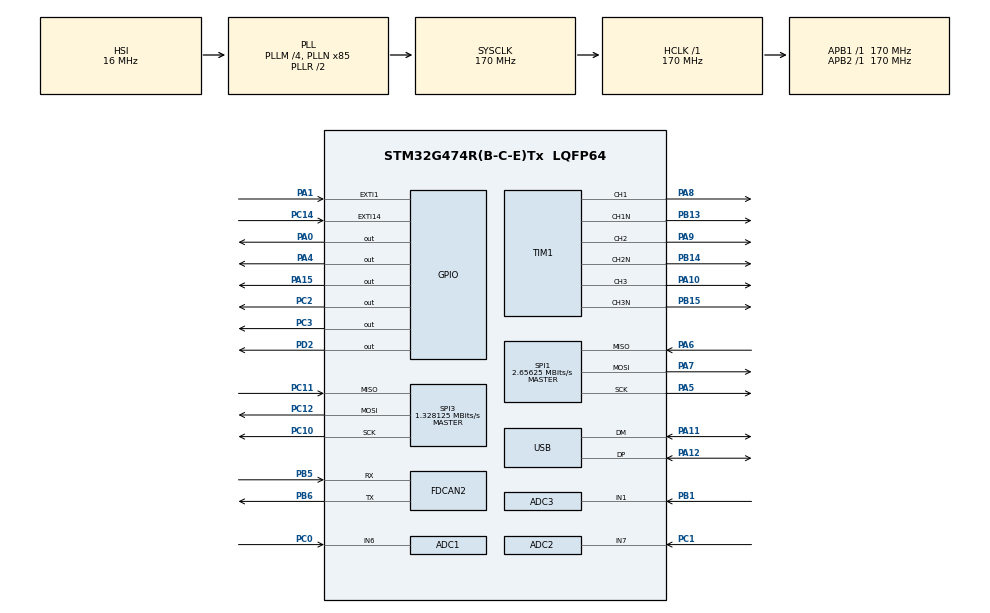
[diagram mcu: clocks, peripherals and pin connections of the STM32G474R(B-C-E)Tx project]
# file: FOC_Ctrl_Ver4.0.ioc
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ADC1.Channel-1\#ChannelRegularConversion=ADC_CHANNEL_6
ADC1.EnableInjectedConversion=ENABLE
ADC1.ExternalTrigInjecConv=ADC_EXTERNALTRIGINJEC_T1_CC4
ADC1.ExternalTrigInjecConvEdge=ADC_EXTERNALTRIGINJECCONV_EDGE_FALLING
ADC1.InjNumberOfConversion=1
ADC1.InjectedChannel-2\#ChannelInjectedConversion=ADC_CHANNEL_6
ADC1.InjectedOffsetNumber-2\#ChannelInjectedConversion=ADC_OFFSET_NONE
ADC1.InjectedRank-2\#ChannelInjectedConversion=1
ADC1.InjectedSamplingTime-2\#ChannelInjectedConversion=ADC_SAMPLETIME_6CYCLES_5
ADC1.Mode=ADC_DUALMODE_INJECSIMULT
ADC1.NbrOfConversionFlag=1
ADC1.OffsetNumber-1\#ChannelRegularConversion=ADC_OFFSET_NONE
ADC1.Rank-1\#ChannelRegularConversion=1
ADC1.Rank1_Channel=ADC_CHANNEL_6
ADC1.SamplingTime-1\#ChannelRegularConversion=ADC_SAMPLETIME_2CYCLES_5
ADC1.TwoSamplingDelay=ADC_TWOSAMPLINGDELAY_3CYCLES
ADC1.master=1
ADC2.Channel-0\#ChannelRegularConversion=ADC_CHANNEL_7
ADC2.EnableInjectedConversion=ENABLE
ADC2.InjNumberOfConversion=1
ADC2.InjectedChannel-1\#ChannelInjectedConversion=ADC_CHANNEL_7
ADC2.InjectedConvMode=AutoInjected
ADC2.InjectedOffsetNumber-1\#ChannelInjectedConversion=ADC_OFFSET_NONE
ADC2.InjectedRank-1\#ChannelInjectedConversion=1
ADC2.InjectedSamplingTime-1\#ChannelInjectedConversion=ADC_SAMPLETIME_6CYCLES_5
ADC2.Mode=ADC_DUALMODE_INJECSIMULT
ADC2.NbrOfConversionFlag=1
ADC2.OffsetNumber-0\#ChannelRegularConversion=ADC_OFFSET_NONE
ADC2.Rank-0\#ChannelRegularConversion=1
ADC2.Rank1_Channel=ADC_CHANNEL_7
ADC2.SamplingTime-0\#ChannelRegularConversion=ADC_SAMPLETIME_2CYCLES_5
ADC2.TwoSamplingDelay=ADC_TWOSAMPLINGDELAY_3CYCLES
ADC3.Channel-0\#ChannelRegularConversion=ADC_CHANNEL_1
ADC3.EnableInjectedConversion=ENABLE
ADC3.ExternalTrigInjecConv=ADC_EXTERNALTRIGINJEC_T4_CC3
ADC3.InjNumberOfConversion=1
ADC3.InjectedChannel-1\#ChannelInjectedConversion=ADC_CHANNEL_1
ADC3.InjectedOffsetNumber-1\#ChannelInjectedConversion=ADC_OFFSET_NONE
ADC3.InjectedRank-1\#ChannelInjectedConversion=1
ADC3.InjectedSamplingTime-1\#ChannelInjectedConversion=ADC_SAMPLETIME_6CYCLES_5
ADC3.NbrOfConversionFlag=1
ADC3.OffsetNumber-0\#ChannelRegularConversion=ADC_OFFSET_NONE
ADC3.Rank-0\#ChannelRegularConversion=1
ADC3.Rank1_Channel=ADC_CHANNEL_1
ADC3.Rank2_Channel=ADC_CHANNEL_1
ADC3.SamplingTime-0\#ChannelRegularConversion=ADC_SAMPLETIME_2CYCLES_5
ADC3.master=1
Dma.Request0=SPI1_RX
Dma.Request1=SPI1_TX
Dma.SPI1_RX.0.Direction=DMA_PERIPH_TO_MEMORY
Dma.SPI1_RX.0.EventEnable=DISABLE
Dma.SPI1_RX.0.Instance=DMA1_Channel1
Dma.SPI1_RX.0.MemDataAlignment=DMA_MDATAALIGN_BYTE
Dma.SPI1_RX.0.MemInc=DMA_MINC_ENABLE
Dma.SPI1_RX.0.Mode=DMA_NORMAL
Dma.SPI1_RX.0.PeriphDataAlignment=DMA_PDATAALIGN_BYTE
Dma.SPI1_RX.0.PeriphInc=DMA_PINC_DISABLE
Dma.SPI1_RX.0.Polarity=HAL_DMAMUX_REQ_GEN_RISING
Dma.SPI1_RX.0.Priority=DMA_PRIORITY_LOW
Dma.SPI1_RX.0.RequestNumber=1
Dma.SPI1_RX.0.SignalID=NONE
Dma.SPI1_RX.0.SyncEnable=DISABLE
Dma.SPI1_RX.0.SyncPolarity=HAL_DMAMUX_SYNC_NO_EVENT
Dma.SPI1_RX.0.SyncRequestNumber=1
Dma.SPI1_RX.0.SyncSignalID=NONE
Dma.SPI1_TX.1.Direction=DMA_MEMORY_TO_PERIPH
Dma.SPI1_TX.1.EventEnable=DISABLE
Dma.SPI1_TX.1.Instance=DMA1_Channel2
Dma.SPI1_TX.1.MemDataAlignment=DMA_MDATAALIGN_BYTE
Dma.SPI1_TX.1.MemInc=DMA_MINC_ENABLE
Dma.SPI1_TX.1.Mode=DMA_NORMAL
Dma.SPI1_TX.1.PeriphDataAlignment=DMA_PDATAALIGN_BYTE
Dma.SPI1_TX.1.PeriphInc=DMA_PINC_DISABLE
Dma.SPI1_TX.1.Polarity=HAL_DMAMUX_REQ_GEN_RISING
Dma.SPI1_TX.1.Priority=DMA_PRIORITY_LOW
Dma.SPI1_TX.1.RequestNumber=1
Dma.SPI1_TX.1.SignalID=NONE
Dma.SPI1_TX.1.SyncEnable=DISABLE
Dma.SPI1_TX.1.SyncPolarity=HAL_DMAMUX_SYNC_NO_EVENT
Dma.SPI1_TX.1.SyncRequestNumber=1
Dma.SPI1_TX.1.SyncSignalID=NONE
FDCAN2.CalculateBaudRateNominal=999999
FDCAN2.CalculateTimeBitNominal=1000
FDCAN2.CalculateTimeQuantumNominal=58.82352941176471
FDCAN2.NominalPrescaler=10
FDCAN2.NominalTimeSeg1=14
FDCAN2.NominalTimeSeg2=2
FDCAN2.StdFiltersNbr=11
Mcu.Family=STM32G4
Mcu.Name=STM32G474R(B-C-E)Tx
Mcu.Package=LQFP64
NVIC.ADC1_2_IRQn=true\:0\:0\:false\:false\:true\:true\:true\:true
NVIC.ADC3_IRQn=true\:0\:0\:false\:false\:true\:true\:true\:true
NVIC.DMA1_Channel1_IRQn=true\:0\:0\:false\:false\:true\:false\:true\:true
NVIC.DMA1_Channel2_IRQn=true\:0\:0\:false\:false\:true\:false\:true\:true
NVIC.EXTI15_10_IRQn=true\:0\:0\:false\:false\:true\:true\:true\:true
NVIC.EXTI1_IRQn=true\:0\:0\:false\:false\:true\:true\:true\:true
NVIC.FDCAN2_IT0_IRQn=true\:0\:0\:false\:false\:true\:true\:true\:true
NVIC.FDCAN2_IT1_IRQn=true\:0\:0\:false\:false\:true\:true\:true\:true
NVIC.PriorityGroup=NVIC_PRIORITYGROUP_4
NVIC.USB_LP_IRQn=true\:0\:0\:false\:false\:true\:false\:true\:true
PA0.Signal=GPIO_Output
PA1.Signal=GPXTI1
PA10.Signal=S_TIM1_CH3
PA11.Mode=Device
PA11.Signal=USB_DM
PA12.Mode=Device
PA12.Signal=USB_DP
PA13.Mode=Serial_Wire
PA13.Signal=SYS_JTMS-SWDIO
PA14.Mode=Serial_Wire
PA14.Signal=SYS_JTCK-SWCLK
PA15.Signal=GPIO_Output
PA2.Signal=USART2_TX
PA3.Signal=USART2_RX
PA4.Signal=GPIO_Output
PA5.Mode=Full_Duplex_Master
PA5.Signal=SPI1_SCK
PA6.Mode=Full_Duplex_Master
PA6.Signal=SPI1_MISO
PA7.Mode=Full_Duplex_Master
PA7.Signal=SPI1_MOSI
PA8.Signal=S_TIM1_CH1
PA9.Signal=S_TIM1_CH2
PB1.Mode=IN1-Single-Ended
PB1.Signal=ADC3_IN1
PB12.Signal=TIM1_BKIN
PB13.Mode=PWM Generation1 CH1 CH1N
PB13.Signal=TIM1_CH1N
PB14.Mode=PWM Generation2 CH2 CH2N
PB14.Signal=TIM1_CH2N
PB15.Mode=PWM Generation3 CH3 CH3N
PB15.Signal=TIM1_CH3N
PB5.Mode=FDCAN_Activate
PB5.Signal=FDCAN2_RX
PB6.Mode=FDCAN_Activate
PB6.Signal=FDCAN2_TX
PC0.Mode=IN6-Single-Ended
PC0.Signal=ADC1_IN6
PC1.Mode=IN7-Single-Ended
PC1.Signal=ADC2_IN7
PC10.Mode=Full_Duplex_Master
PC10.Signal=SPI3_SCK
PC11.Mode=Full_Duplex_Master
PC11.Signal=SPI3_MISO
PC12.Mode=Full_Duplex_Master
PC12.Signal=SPI3_MOSI
PC14-OSC32_IN.Signal=GPXTI14
PC2.Signal=GPIO_Output
PC3.Signal=GPIO_Output
PD2.Signal=GPIO_Output
PF0-OSC_IN.Mode=HSE-External-Oscillator
PF0-OSC_IN.Signal=RCC_OSC_IN
PF1-OSC_OUT.Mode=HSE-External-Oscillator
PF1-OSC_OUT.Signal=RCC_OSC_OUT
ProjectManager.HeapSize=0x200
ProjectManager.StackSize=0x400
ProjectManager.TargetToolchain=STM32CubeIDE
RCC.ADC12Freq_Value=170000000
RCC.ADC345Freq_Value=170000000
RCC.AHBFreq_Value=170000000
RCC.APB1Freq_Value=170000000
RCC.APB1TimFreq_Value=170000000
RCC.APB2Freq_Value=170000000
RCC.APB2TimFreq_Value=170000000
RCC.CK48CLockSelection=RCC_USBCLKSOURCE_HSI48
RCC.CortexFreq_Value=170000000
RCC.EXTERNAL_CLOCK_VALUE=12288000
RCC.HCLKFreq_Value=170000000
RCC.HSE_VALUE=8000000
RCC.HSI48_VALUE=48000000
RCC.HSI_VALUE=16000000
RCC.LSE_VALUE=32768
RCC.PLLM=RCC_PLLM_DIV4
RCC.PLLN=85
RCC.PLLQ=RCC_PLLQ_DIV6
RCC.SYSCLKFreq_VALUE=170000000
RCC.SYSCLKSource=RCC_SYSCLKSOURCE_PLLCLK
RCC.USBFreq_Value=48000000
RCC.VCOOutputFreq_Value=340000000
SH.S_TIM1_CH1.0=TIM1_CH1,PWM Generation1 CH1 CH1N
SH.S_TIM1_CH2.0=TIM1_CH2,PWM Generation2 CH2 CH2N
SH.S_TIM1_CH3.0=TIM1_CH3,PWM Generation3 CH3 CH3N
SPI1.BaudRatePrescaler=SPI_BAUDRATEPRESCALER_64
SPI1.CLKPhase=SPI_PHASE_2EDGE
SPI1.CLKPolarity=SPI_POLARITY_HIGH
SPI1.CalculateBaudRate=2.65625 MBits/s
SPI1.DataSize=SPI_DATASIZE_8BIT
SPI1.Direction=SPI_DIRECTION_2LINES
SPI1.Mode=SPI_MODE_MASTER
SPI1.VirtualType=VM_MASTER
SPI3.BaudRatePrescaler=SPI_BAUDRATEPRESCALER_128
SPI3.CLKPhase=SPI_PHASE_2EDGE
SPI3.CalculateBaudRate=1.328125 MBits/s
SPI3.DataSize=SPI_DATASIZE_16BIT
SPI3.Direction=SPI_DIRECTION_2LINES
SPI3.Mode=SPI_MODE_MASTER
SPI3.VirtualType=VM_MASTER
TIM1.Channel-PWM\ Generation1\ CH1\ CH1N=TIM_CHANNEL_1
TIM1.Channel-PWM\ Generation2\ CH2\ CH2N=TIM_CHANNEL_2
TIM1.Channel-PWM\ Generation3\ CH3\ CH3N=TIM_CHANNEL_3
TIM1.Channel-PWM\ Generation4\ No\ Output=TIM_CHANNEL_4
TIM1.CounterMode=TIM_COUNTERMODE_CENTERALIGNED1
TIM2.Prescaler=169
TIM4.Channel-PWM\ Generation3\ No\ Output=TIM_CHANNEL_3
TIM4.PeriodNoDither=1699
TIM4.Prescaler=99
USB_DEVICE.APP_RX_DATA_SIZE=512
USB_DEVICE.APP_TX_DATA_SIZE=512
USB_DEVICE.CLASS_NAME_FS=CDC
USB_DEVICE.USBD_LPM_ENABLED=1
USB_DEVICE.USBD_MAX_NUM_INTERFACES=1
USB_DEVICE.VirtualMode=Cdc
USB_DEVICE.VirtualModeFS=Cdc_FS
VP_RCC_VS_USB.Mode=USB_FS
VP_SYS_VS_DBSignals.Mode=DisableDeadBatterySignals
VP_TIM1_VS_no_output4.Mode=PWM Generation4 No Output
VP_TIM2_VS_ClockSourceINT.Mode=Internal
VP_TIM4_VS_no_output3.Mode=PWM Generation3 No Output
VP_USB_DEVICE_VS_USB_DEVICE_CDC_FS.Mode=CDC_FS
board=custom

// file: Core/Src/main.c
/* USER CODE BEGIN Header */
/**
  ******************************************************************************
  * @file           : main.c
  * @brief          : Main program body
  ******************************************************************************
  * @attention
  *
  * Copyright (c) 2026 STMicroelectronics.
  * All rights reserved.
  *
  * This software is licensed under terms that can be found in the LICENSE file
  * in the root directory of this software component.
  * If no LICENSE file comes with this software, it is provided AS-IS.
  *
  ******************************************************************************
  */
/* USER CODE END Header */
#include "main.h"
#include "usb_device.h"

/* USER CODE BEGIN Includes */

#include "MT6816.h"
#include "FOC_utils.h"
#include "flash.h"
#include "DRV8323.h"
#include "CAN.h"

/* USER CODE END Includes */

/* USER CODE BEGIN PD */

/* ------------------------------ define LED ------------------------------ */
#define G1_PORT	GPIOC
#define R1_PORT	GPIOC
#define R2_PORT GPIOA
#define G1_PIN	GPIO_PIN_2
#define R1_PIN	GPIO_PIN_3
#define R2_PIN	GPIO_PIN_0
/* ------------------------------ define Mt6816 ------------------------------ */
#define MT6816_CS_PORT	GPIOA
#define MT6816_CS_PIN 	GPIO_PIN_4
/* ------------------------------ define DRV8323S ------------------------------ */
#define DRV8323_ENGATE_PORT	GPIOD
#define DRV8323_ENGATE_PIN	GPIO_PIN_2
#define DRV8323_NFAULT_PORT	GPIOC
#define DRV8323_NFAULT_PIN	GPIO_PIN_14
#define DRV8323_CS_PORT		GPIOA
#define DRV8323_CS_PIN		GPIO_PIN_15
/* ------------------------------ define TIM1 3 phases ------------------------------ */
#define PHASE_A CCR3
#define PHASE_B CCR2
#define PHASE_C CCR1

/* USER CODE END PD */

ADC_HandleTypeDef hadc1;
ADC_HandleTypeDef hadc2;
ADC_HandleTypeDef hadc3;

FDCAN_HandleTypeDef hfdcan2;

SPI_HandleTypeDef hspi1;
SPI_HandleTypeDef hspi3;
DMA_HandleTypeDef hdma_spi1_rx;
DMA_HandleTypeDef hdma_spi1_tx;

TIM_HandleTypeDef htim1;
TIM_HandleTypeDef htim2;
TIM_HandleTypeDef htim4;

/* USER CODE BEGIN PV */

/* ------------------------------ Structs ------------------------------ */
MT6816_t mt6816;
FOC_t foc;
motor_config_t m_config;
DRV8323_t drv;
DRV8323_dbg_t drv_dbg;
CAN_t can;
// CAN
FDCAN_FilterTypeDef Filter = {0};
FDCAN_TxHeaderTypeDef TxHeader;
FDCAN_RxHeaderTypeDef RxHeader;

/* ------------------------------ Variables ------------------------------ */
volatile float cmd;

/* USER CODE END PV */

void SystemClock_Config(void);
static void MX_GPIO_Init(void);
static void MX_DMA_Init(void);
static void MX_SPI1_Init(void);
static void MX_TIM1_Init(void);
static void MX_SPI3_Init(void);
static void MX_ADC1_Init(void);
static void MX_ADC2_Init(void);
static void MX_ADC3_Init(void);
static void MX_FDCAN2_Init(void);
static void MX_TIM4_Init(void);
static void MX_TIM2_Init(void);
/* USER CODE BEGIN PFP */

/* ------------------------------ Get dt us ------------------------------ */
uint32_t Get_Dt_Us(void)
{
    uint32_t elapsed_us = TIM2->CNT;
    TIM2->CNT = 0;
    return elapsed_us;
}

/* ------------------------------ Torque control update ------------------------------ */
static int Torque_Control_Update(void)
{
    static uint8_t speed_cnt = 0;
    static uint8_t pos_cnt   = 0;

    DRV8323_Get_Current(&drv, &foc.ia, &foc.ic);
//    foc.e_rad = foc.e_rad_comp;
    FOC_Current_Control_Update(&foc);

    if (++speed_cnt >= SPEED_CONTROL_CYCLE) {
        speed_cnt = 0;

        if (++pos_cnt >= POS_CONTROL_CYCLE) {
            pos_cnt = 0;
            return 2;
        }
        return 1;
    }
    return 0;
}

/* ------------------------------ MT6816 Init ------------------------------ */
void MT6816_Init(void) {
	foc.actual_angle_general = &foc.actual_angle_mt6816;
    MT6816_Config(&mt6816, MT6816_CS_PORT, MT6816_CS_PIN, &hspi1);
    MT6816_Start(&mt6816);
}

/* ------------------------------ DRV8323 Cfg ------------------------------ */
void DRV8323_Cfg(void) {
	DRV8323_SPI_Config(&drv, &hspi3, DRV8323_CS_PORT, DRV8323_CS_PIN);
	DRV8323_GPIO_ENGATE_Config(&drv, DRV8323_ENGATE_PORT, DRV8323_ENGATE_PIN);
	DRV8323_GPIO_NFAULT_Config(&drv, DRV8323_NFAULT_PORT, DRV8323_NFAULT_PIN);
	DRV8323_TIMER_Config(&drv, &htim1, PWM_FRE);
	DRV8323_Current_Sens_Config(&drv);
	TIM1->CCR4 = drv.pwm_resolution - 135;
}

/* ------------------------------ ADC Init ------------------------------ */
void ADC_Init(void)
{
	HAL_TIM_PWM_Start(&htim4, TIM_CHANNEL_3); // for adc3 vbus tracking
	TIM4->CCR3 = 200;

    HAL_ADCEx_Calibration_Start(&hadc1, ADC_SINGLE_ENDED);
    HAL_ADCEx_Calibration_Start(&hadc2, ADC_SINGLE_ENDED);
    HAL_ADCEx_Calibration_Start(&hadc3, ADC_SINGLE_ENDED);

    HAL_ADC_Start(&hadc1);
    HAL_ADC_Start(&hadc2);
    HAL_ADC_Start(&hadc3);

    HAL_ADCEx_InjectedStart_IT(&hadc1);
    HAL_ADCEx_InjectedStart_IT(&hadc2);
    HAL_ADCEx_InjectedStart_IT(&hadc3);

    HAL_Delay(1);
}
/* ------------------------------ FOC Init ------------------------------ */
void FOC_Init(void) {
	Init_Trig_Lut();
	HAL_TIM_Base_Start(&htim2); // for get dt us
	foc.actual_angle_mt6816_offset = 0;

	foc.check_mul_round = 1;
    foc.mech_theta = &mt6816.mechTheta;

    foc.id_ctrl.out_max_dynamic = m_config.id_out_max;
    foc.iq_ctrl.out_max_dynamic = m_config.iq_out_max;
    PID_Init(&foc.id_ctrl, m_config.id_kp, m_config.id_ki, 0.0f, FOC_TS, m_config.id_out_max*foc.v_bus, m_config.id_e_deadband);
    PID_Init(&foc.iq_ctrl, m_config.iq_kp, m_config.iq_ki, 0.0f, FOC_TS, m_config.iq_out_max*foc.v_bus, m_config.iq_e_deadband);

    PID_Init(&foc.speed_ctrl, m_config.speed_kp, m_config.speed_ki, m_config.speed_kd,
             FOC_TS * SPEED_CONTROL_CYCLE, KT*MAX_CURRENT*GEAR_RATIO, m_config.speed_e_deadband);
    foc.speed_ctrl.d_alpha_filter = 0.01f;

    PID_Init(&foc.pos_ctrl, m_config.pos_kp, m_config.pos_ki, m_config.pos_kd,
             FOC_TS * POS_CONTROL_CYCLE, KT*MAX_CURRENT*GEAR_RATIO, m_config.pos_e_deadband);
    foc.pos_ctrl.d_alpha_filter = 0.85f;

    FOC_Pwm_Init(&foc, &(TIM1->PHASE_A), &(TIM1->PHASE_B), &(TIM1->PHASE_C), drv.pwm_resolution);

    FOC_Sensor_Init(&foc, m_config.encd_offset);
}

/* ------------------------------ CAN Init ------------------------------ */
void CAN_Init(FDCAN_HandleTypeDef *hcan) {
	Filter.IdType       = FDCAN_STANDARD_ID;
	Filter.FilterType   = FDCAN_FILTER_MASK;        /* ID1 = value, ID2 = mask */
	Filter.FilterConfig = FDCAN_FILTER_TO_RXFIFO0;
	Filter.FilterID2    = 0x7FF;                    /* mask 11 bits    */

	Filter.FilterIndex  = 0;
	Filter.FilterID1    = CAN_FEEDBACK_POS_VEL;	/* 50 - pos, vel - 2 floats/8 bytes */
	if (HAL_FDCAN_ConfigFilter(hcan, &Filter) != HAL_OK) Error_Handler();

	Filter.FilterIndex  = 1;
	Filter.FilterID1    = CAN_FEEDBACK_PA_PB;		/* 51 - pa current, pb current - 2 floats/8 bytes */
	if (HAL_FDCAN_ConfigFilter(hcan, &Filter) != HAL_OK) Error_Handler();

	Filter.FilterIndex  = 2;
	Filter.FilterID1    = CAN_FEEDBACK_PC_TAU;		/* 52 - pc current, torque measured - 2 floats/8 bytes */
	if (HAL_FDCAN_ConfigFilter(hcan, &Filter) != HAL_OK) Error_Handler();

	Filter.FilterIndex  = 3;
	Filter.FilterID1    = CAN_FEEDBACK_TEMP_VBUS;	/* 53 - temp, bus voltage - 2 floats/8 bytes */
	if (HAL_FDCAN_ConfigFilter(hcan, &Filter) != HAL_OK) Error_Handler();

	Filter.FilterIndex  = 4;
	Filter.FilterID1    = CAN_FEEDBACK_STATE;		/* 54 - states(include encoder, drv, foc) - 64 bits max */
	if (HAL_FDCAN_ConfigFilter(hcan, &Filter) != HAL_OK) Error_Handler();

	//	55 - 59: some other specific cases

	Filter.FilterIndex  = 10;
	Filter.FilterID1    = CAN_ACTIONS;				/* 60 + NODE_ID(start from 0) - actions - pos, vel - 2 floats/8bytes */
	if (HAL_FDCAN_ConfigFilter(hcan, &Filter) != HAL_OK) Error_Handler();

	// CAN cfg
	CAN_Cfg(&can, hcan);
	CAN_Header_Cfg(&can, &TxHeader, &RxHeader, NODE_ID);

	/* Enable FDCAN */
	if (HAL_FDCAN_ActivateNotification(&hfdcan2, FDCAN_IT_RX_FIFO0_NEW_MESSAGE | FDCAN_IT_RX_FIFO0_MESSAGE_LOST, 0) != HAL_OK) Error_Handler();
	if (HAL_FDCAN_ActivateNotification(&hfdcan2, FDCAN_IT_TX_COMPLETE, FDCAN_TX_BUFFER0 | FDCAN_TX_BUFFER1 | FDCAN_TX_BUFFER2) != HAL_OK) Error_Handler();
	if (HAL_FDCAN_Start(&hfdcan2) != HAL_OK) Error_Handler();
	can.can_err = HAL_FDCAN_GetError(&hfdcan2);
}

/* USER CODE END PFP */

/* USER CODE BEGIN 0 */

/* ------------------------------ MT6816 SPI Callback ------------------------------ */
void HAL_SPI_TxRxCpltCallback(SPI_HandleTypeDef *hspi) {
	if (hspi != &hspi1) return;

	MT6816_DeSelect(&mt6816);

	mt6816.check = 0;

	// save the important data
	mt6816.complete_16Bit[mt6816.read_flag] = mt6816.rx_8Bit[1];

	if (mt6816.read_flag == 1) {
		MT6816_Update_Angle_8Bit(&mt6816, &foc);
		FOC_Calc_Electric_Angle(&foc);
		MT6816_Get_Multiturn_Degree(&mt6816, &foc);
		FOC_Calc_Mech_Pos_Encoder(&foc);
	}

	// change the flag state
	mt6816.read_flag ^= 1;
	MT6816_Spi_Transmit_Receive_Data_8Bit(&mt6816, reg_addrs[mt6816.read_flag]);
}

void HAL_SPI_ErrorCallback(SPI_HandleTypeDef *hspi) {
	if (hspi != &hspi1) return;

	MT6816_DeSelect(&mt6816);
	mt6816.check = 0;
	mt6816.spiErrorCount++;
}

/* ------------------------------ ADC Callback ------------------------------ */
volatile int ret = 0;
volatile int change_count = 0;

void HAL_ADCEx_InjectedConvCpltCallback(ADC_HandleTypeDef *hadc)
{
    if (hadc->Instance == ADC1) {

		DRV8323_Set_Adc_A(&drv, ADC1->JDR1); // phase A
		DRV8323_Set_Adc_C(&drv, ADC2->JDR1); // phase C

		const float acc_speed = UVEL(5.0f);   /* acceleration - value is 5rpm (rad/s at RAD_CTRL, otherwise rpm) */

		switch (foc.control_mode) {

		case POWER_UP_MODE:
			FOC_Open_Loop_Voltage_Control(&foc, 0.0f, 0.0f, 0.0f);
			break;

		case TORQUE_CONTROL_MODE:
			foc.id_ref = 0.0f;
			foc.iq_ref = cmd;
			Torque_Control_Update();
			break;

		case SPEED_CONTROL_MODE:
			float constrained_speed_cmd = CONSTRAIN(cmd, MIN_SPEED, MAX_SPEED);
			static float local_cmd = 0.0f;
			ret = Torque_Control_Update();
			if (ret >= 1) {
				float error = constrained_speed_cmd - local_cmd;
				float step  = (error > 0.0f) ? acc_speed : -acc_speed;
				local_cmd = (fabsf(error) > acc_speed) ? (local_cmd + step) : constrained_speed_cmd;
		        MT6816_Get_RPM(&mt6816, &foc, Get_Dt_Us());
		        FOC_Calc_Mech_Speed_Encoder(&foc);
				FOC_Speed_Control_Update(&foc, local_cmd);
			}
			break;

		case POSITION_CONTROL_MODE:
			float constrained_pos_cmd = CONSTRAIN(cmd, MIN_POS, MAX_POS);
			ret = Torque_Control_Update();
			if (ret >= 1) {
//				FOC_Calc_Mech_Pos_Encoder(&foc);
				FOC_Position_Control_Update(&foc, constrained_pos_cmd);
			break;
		}

		case CALIBRATION_MODE:
			break;

		case TEST_MODE:
			break;

		default:
			break;
		}
    }
    else if (hadc->Instance == ADC3) {
    	foc.v_bus = (float)(ADC3->JDR1) / 4095.0f * VCC * 5.7f;
    }
}

/* ------------------------------ CAN Callback ------------------------------ */
void HAL_FDCAN_RxFifo0Callback(FDCAN_HandleTypeDef *hfdcan, uint32_t RxFifo0ITs)
{
    if ((RxFifo0ITs & FDCAN_IT_RX_FIFO0_MESSAGE_LOST) != RESET)
    {
        can.rx_fail++;
    }

    if ((RxFifo0ITs & FDCAN_IT_RX_FIFO0_NEW_MESSAGE) != RESET)
    {
        if (HAL_FDCAN_GetRxMessage(hfdcan, FDCAN_RX_FIFO0, &RxHeader, can.rx_data) == HAL_OK)
        {
            can.rx_success++;

            if (RxHeader.Identifier == CAN_FEEDBACK_POS_VEL)
            {
                /* Request from Jetson — send current joint state as feedback:
                 *   bytes [0..3] = position (float, rad, little-endian)
                 *   bytes [4..7] = velocity (float, rpm, little-endian)
                 */
                float pos = foc.actual_angle_mt6816;   /* rad khi RAD_CTRL - AXIS_SIGNS[NODE_ID]*/
                float vel = foc.actual_speed;   /* rad/s khi RAD_CTRL - AXIS_SIGNS[NODE_ID] */
                memcpy(&can.tx_data[0], &pos, sizeof(float));
                memcpy(&can.tx_data[4], &vel, sizeof(float));
                CAN_Send(&can, can.tx_data);
            }
            else if (RxHeader.Identifier == CAN_ACTIONS)
            {
                /* CMD from Jetson — position command for this joint:
                 *   bytes [0..3] = target position (float, RAD, little-endian)
                 * action là rad SẴN -> dùng thẳng, KHÔNG quy đổi giá trị action.
                 * Written to shared variable; ADC ISR reads it on the next cycle.
                 * Safe because ADC ISR (priority 0) always preempts CAN callback (priority 3)
                 * → no race condition: CAN cannot interrupt ADC mid-execution.
                 */
                /* Chỉ nhận action khi node SẴN SÀNG (init_done): lúc đang homing lại
                 * (sau ngã) bỏ qua action để không ghi đè home target. Chặn NaN/Inf. */
				float action;
				memcpy(&action, can.rx_data, sizeof(float));
				if (isfinite(action))
				{
					/* Clamp về dải cho phép của khớp (robot frame, trước AXIS_SIGNS).
					 * action là rad; SP_LIMIT_* đã ở domain (rad khi RAD_CTRL) nên so trực tiếp. */
//					if      (action > SP_LIMIT_MAX) action = SP_LIMIT_MAX;
//					else if (action < SP_LIMIT_MIN) action = SP_LIMIT_MIN;
					cmd = action; // AXIS_SIGNS[NODE_ID]
				}
            }

//            else if (RxHeader.Identifier == CHECK_INIT_DONE)
//            {
//                /* Main board chưa nhận được tín hiệu init-done trước đó → hỏi lại.
//                 * Chưa init xong: im lặng (không gửi gì).
//                 * Đã init xong: gửi lại CAN_ID_INIT_DONE để xác nhận (data rác). */
//                if (init_done)
//                {
//                    uint8_t init_done_msg[1] = {0};
//                    FDCAN_Send(CAN_ID_INIT_DONE, init_done_msg, 1);
//                }
//            }
//            else if (RxHeader.Identifier == CAN_ID_FALLING)
//            {
//                /* Main board báo ROBOT NGÃ -> node HOMING TẠI CHỖ (KHÔNG reset):
//                 *   init_done=0  : "chưa sẵn sàng" lại -> ngừng trả lời CHECK_INIT_DONE,
//                 *                  bỏ qua action mới, bật giới hạn tốc độ homing.
//                 *   cmd=home: vòng position-control (ADC ISR) kéo khớp về home.
//                 *   giữ calibration + offset cũ (encoder tuyệt đối vẫn đúng).
//                 * while(1) theo dõi: về tới home -> init_done=1 -> gửi CAN_ID_INIT_DONE. */
//                init_done      = 0;
//                cmd       = cmd_HOMING;   /* đích position-control = home (rad khi RAD_CTRL) */
//                foc_protection_set_homing_target(cmd_HOMING);
//                rehome_request = 1;
//            }
            //HAL_GPIO_TogglePin(LED_Port4, LED_L4); /* dbg: every RX msg */
        }

        __HAL_FDCAN_CLEAR_IT(hfdcan, FDCAN_IT_RX_FIFO0_NEW_MESSAGE);
    }
}

void HAL_FDCAN_TxBufferCompleteCallback(FDCAN_HandleTypeDef *hfdcan, uint32_t BufferIndexes)
{
    if (BufferIndexes != 0xFFFFFFFF)
    {
        can.tx_success++;
    }
}

void HAL_FDCAN_ErrorCallback(FDCAN_HandleTypeDef *hfdcan)
{
    can.tx_fail++;
    can.can_err = HAL_FDCAN_GetError(hfdcan);

    FDCAN_ProtocolStatusTypeDef psr;
    HAL_FDCAN_GetProtocolStatus(hfdcan, &psr);
    if (psr.BusOff) {
        HAL_FDCAN_Stop(hfdcan);
        HAL_FDCAN_Start(hfdcan);
    }
}

/* USER CODE END 0 */

int main(void)
{

  /* MCU Configuration--------------------------------------------------------*/

  /* Reset of all peripherals, Initializes the Flash interface and the Systick. */
  HAL_Init();

  /* Configure the system clock */
  SystemClock_Config();

  /* Initialize all configured peripherals */
  MX_GPIO_Init();
  MX_DMA_Init();
  MX_SPI1_Init();
  MX_TIM1_Init();
  MX_SPI3_Init();
  MX_ADC1_Init();
  MX_ADC2_Init();
  MX_ADC3_Init();
  MX_FDCAN2_Init();
  MX_TIM4_Init();
  MX_TIM2_Init();
  MX_USB_Device_Init();
  /* USER CODE BEGIN 2 */

  /* ------------------------------ Inits ------------------------------ */
  flash_default_config(&m_config);

  MT6816_Init();
  DRV8323_Cfg();
  DRV8323_Init(&drv, &drv_dbg);
  DRV8323_Debug_Read(&drv, &drv_dbg);
//  DRV8323_Set_Pwm(&drv, 1000, 1000, 1000);
  ADC_Init();
  HAL_Delay(5);
  FOC_Init();
  HAL_Delay(1);
  foc.control_mode = CALIBRATION_MODE;
  DRV8323_Start_Pwm(&drv);
  FOC_Cal_Encoder_Misalignment(&foc);
  foc.check_mul_round = 0;
  HAL_Delay(1);
  foc.control_mode = POSITION_CONTROL_MODE;

  CAN_Init(&hfdcan2);

  G1_PORT->BSRR = G1_PIN;
//  R1_PORT->BSRR = R1_PIN;
//  R2_PORT->BSRR = R2_PIN;

  /* USER CODE END 2 */

  /* Infinite loop */
  while (1)
  {

  }
}

void SystemClock_Config(void)
{
  RCC_OscInitTypeDef RCC_OscInitStruct = {0};
  RCC_ClkInitTypeDef RCC_ClkInitStruct = {0};
  RCC_CRSInitTypeDef pInit = {0};

  /** Configure the main internal regulator output voltage
  */
  HAL_PWREx_ControlVoltageScaling(PWR_REGULATOR_VOLTAGE_SCALE1_BOOST);

  /** Initializes the RCC Oscillators according to the specified parameters
  * in the RCC_OscInitTypeDef structure.
  */
  RCC_OscInitStruct.OscillatorType = RCC_OSCILLATORTYPE_HSI|RCC_OSCILLATORTYPE_HSI48;
  RCC_OscInitStruct.HSIState = RCC_HSI_ON;
  RCC_OscInitStruct.HSICalibrationValue = RCC_HSICALIBRATION_DEFAULT;
  RCC_OscInitStruct.HSI48State = RCC_HSI48_ON;
  RCC_OscInitStruct.PLL.PLLState = RCC_PLL_ON;
  RCC_OscInitStruct.PLL.PLLSource = RCC_PLLSOURCE_HSI;
  RCC_OscInitStruct.PLL.PLLM = RCC_PLLM_DIV4;
  RCC_OscInitStruct.PLL.PLLN = 85;
  RCC_OscInitStruct.PLL.PLLP = RCC_PLLP_DIV2;
  RCC_OscInitStruct.PLL.PLLQ = RCC_PLLQ_DIV6;
  RCC_OscInitStruct.PLL.PLLR = RCC_PLLR_DIV2;
  if (HAL_RCC_OscConfig(&RCC_OscInitStruct) != HAL_OK)
  {
    Error_Handler();
  }

  /** Initializes the CPU, AHB and APB buses clocks
  */
  RCC_ClkInitStruct.ClockType = RCC_CLOCKTYPE_HCLK|RCC_CLOCKTYPE_SYSCLK
                              |RCC_CLOCKTYPE_PCLK1|RCC_CLOCKTYPE_PCLK2;
  RCC_ClkInitStruct.SYSCLKSource = RCC_SYSCLKSOURCE_PLLCLK;
  RCC_ClkInitStruct.AHBCLKDivider = RCC_SYSCLK_DIV1;
  RCC_ClkInitStruct.APB1CLKDivider = RCC_HCLK_DIV1;
  RCC_ClkInitStruct.APB2CLKDivider = RCC_HCLK_DIV1;

  if (HAL_RCC_ClockConfig(&RCC_ClkInitStruct, FLASH_LATENCY_4) != HAL_OK)
  {
    Error_Handler();
  }

  /** Enable the SYSCFG APB clock
  */
  __HAL_RCC_CRS_CLK_ENABLE();

  /** Configures CRS
  */
  pInit.Prescaler = RCC_CRS_SYNC_DIV1;
  pInit.Source = RCC_CRS_SYNC_SOURCE_USB;
  pInit.Polarity = RCC_CRS_SYNC_POLARITY_RISING;
  pInit.ReloadValue = __HAL_RCC_CRS_RELOADVALUE_CALCULATE(48000000,1000);
  pInit.ErrorLimitValue = 34;
  pInit.HSI48CalibrationValue = 32;

  HAL_RCCEx_CRSConfig(&pInit);
}

static void MX_ADC1_Init(void)
{

  ADC_MultiModeTypeDef multimode = {0};
  ADC_ChannelConfTypeDef sConfig = {0};
  ADC_InjectionConfTypeDef sConfigInjected = {0};

  /** Common config
  */
  hadc1.Instance = ADC1;
  hadc1.Init.ClockPrescaler = ADC_CLOCK_SYNC_PCLK_DIV4;
  hadc1.Init.Resolution = ADC_RESOLUTION_12B;
  hadc1.Init.DataAlign = ADC_DATAALIGN_RIGHT;
  hadc1.Init.GainCompensation = 0;
  hadc1.Init.ScanConvMode = ADC_SCAN_DISABLE;
  hadc1.Init.EOCSelection = ADC_EOC_SINGLE_CONV;
  hadc1.Init.LowPowerAutoWait = DISABLE;
  hadc1.Init.ContinuousConvMode = DISABLE;
  hadc1.Init.NbrOfConversion = 1;
  hadc1.Init.DiscontinuousConvMode = DISABLE;
  hadc1.Init.ExternalTrigConv = ADC_SOFTWARE_START;
  hadc1.Init.ExternalTrigConvEdge = ADC_EXTERNALTRIGCONVEDGE_NONE;
  hadc1.Init.DMAContinuousRequests = DISABLE;
  hadc1.Init.Overrun = ADC_OVR_DATA_PRESERVED;
  hadc1.Init.OversamplingMode = DISABLE;
  if (HAL_ADC_Init(&hadc1) != HAL_OK)
  {
    Error_Handler();
  }

  /** Configure the ADC multi-mode
  */
  multimode.Mode = ADC_DUALMODE_INJECSIMULT;
  multimode.DMAAccessMode = ADC_DMAACCESSMODE_DISABLED;
  multimode.TwoSamplingDelay = ADC_TWOSAMPLINGDELAY_3CYCLES;
  if (HAL_ADCEx_MultiModeConfigChannel(&hadc1, &multimode) != HAL_OK)
  {
    Error_Handler();
  }

  /** Configure Regular Channel
  */
  sConfig.Channel = ADC_CHANNEL_6;
  sConfig.Rank = ADC_REGULAR_RANK_1;
  sConfig.SamplingTime = ADC_SAMPLETIME_2CYCLES_5;
  sConfig.SingleDiff = ADC_SINGLE_ENDED;
  sConfig.OffsetNumber = ADC_OFFSET_NONE;
  sConfig.Offset = 0;
  if (HAL_ADC_ConfigChannel(&hadc1, &sConfig) != HAL_OK)
  {
    Error_Handler();
  }

  /** Configure Injected Channel
  */
  sConfigInjected.InjectedChannel = ADC_CHANNEL_6;
  sConfigInjected.InjectedRank = ADC_INJECTED_RANK_1;
  sConfigInjected.InjectedSamplingTime = ADC_SAMPLETIME_6CYCLES_5;
  sConfigInjected.InjectedSingleDiff = ADC_SINGLE_ENDED;
  sConfigInjected.InjectedOffsetNumber = ADC_OFFSET_NONE;
  sConfigInjected.InjectedOffset = 0;
  sConfigInjected.InjectedNbrOfConversion = 1;
  sConfigInjected.InjectedDiscontinuousConvMode = DISABLE;
  sConfigInjected.AutoInjectedConv = DISABLE;
  sConfigInjected.QueueInjectedContext = DISABLE;
  sConfigInjected.ExternalTrigInjecConv = ADC_EXTERNALTRIGINJEC_T1_CC4;
  sConfigInjected.ExternalTrigInjecConvEdge = ADC_EXTERNALTRIGINJECCONV_EDGE_FALLING;
  sConfigInjected.InjecOversamplingMode = DISABLE;
  if (HAL_ADCEx_InjectedConfigChannel(&hadc1, &sConfigInjected) != HAL_OK)
  {
    Error_Handler();
  }

}

static void MX_ADC2_Init(void)
{

  ADC_ChannelConfTypeDef sConfig = {0};
  ADC_InjectionConfTypeDef sConfigInjected = {0};

  /** Common config
  */
  hadc2.Instance = ADC2;
  hadc2.Init.ClockPrescaler = ADC_CLOCK_SYNC_PCLK_DIV4;
  hadc2.Init.Resolution = ADC_RESOLUTION_12B;
  hadc2.Init.DataAlign = ADC_DATAALIGN_RIGHT;
  hadc2.Init.GainCompensation = 0;
  hadc2.Init.ScanConvMode = ADC_SCAN_DISABLE;
  hadc2.Init.EOCSelection = ADC_EOC_SINGLE_CONV;
  hadc2.Init.LowPowerAutoWait = DISABLE;
  hadc2.Init.ContinuousConvMode = DISABLE;
  hadc2.Init.NbrOfConversion = 1;
  hadc2.Init.DiscontinuousConvMode = DISABLE;
  hadc2.Init.DMAContinuousRequests = DISABLE;
  hadc2.Init.Overrun = ADC_OVR_DATA_PRESERVED;
  hadc2.Init.OversamplingMode = DISABLE;
  if (HAL_ADC_Init(&hadc2) != HAL_OK)
  {
    Error_Handler();
  }

  /** Configure Regular Channel
  */
  sConfig.Channel = ADC_CHANNEL_7;
  sConfig.Rank = ADC_REGULAR_RANK_1;
  sConfig.SamplingTime = ADC_SAMPLETIME_2CYCLES_5;
  sConfig.SingleDiff = ADC_SINGLE_ENDED;
  sConfig.OffsetNumber = ADC_OFFSET_NONE;
  sConfig.Offset = 0;
  if (HAL_ADC_ConfigChannel(&hadc2, &sConfig) != HAL_OK)
  {
    Error_Handler();
  }

  /** Configure Injected Channel
  */
  sConfigInjected.InjectedChannel = ADC_CHANNEL_7;
  sConfigInjected.InjectedRank = ADC_INJECTED_RANK_1;
  sConfigInjected.InjectedSamplingTime = ADC_SAMPLETIME_6CYCLES_5;
  sConfigInjected.InjectedSingleDiff = ADC_SINGLE_ENDED;
  sConfigInjected.InjectedOffsetNumber = ADC_OFFSET_NONE;
  sConfigInjected.InjectedOffset = 0;
  sConfigInjected.InjectedNbrOfConversion = 1;
  sConfigInjected.InjectedDiscontinuousConvMode = DISABLE;
  sConfigInjected.AutoInjectedConv = ENABLE;
  sConfigInjected.QueueInjectedContext = DISABLE;
  sConfigInjected.InjecOversamplingMode = DISABLE;
  if (HAL_ADCEx_InjectedConfigChannel(&hadc2, &sConfigInjected) != HAL_OK)
  {
    Error_Handler();
  }

}

static void MX_ADC3_Init(void)
{

  ADC_MultiModeTypeDef multimode = {0};
  ADC_ChannelConfTypeDef sConfig = {0};
  ADC_InjectionConfTypeDef sConfigInjected = {0};

  /** Common config
  */
  hadc3.Instance = ADC3;
  hadc3.Init.ClockPrescaler = ADC_CLOCK_SYNC_PCLK_DIV4;
  hadc3.Init.Resolution = ADC_RESOLUTION_12B;
  hadc3.Init.DataAlign = ADC_DATAALIGN_RIGHT;
  hadc3.Init.GainCompensation = 0;
  hadc3.Init.ScanConvMode = ADC_SCAN_DISABLE;
  hadc3.Init.EOCSelection = ADC_EOC_SINGLE_CONV;
  hadc3.Init.LowPowerAutoWait = DISABLE;
  hadc3.Init.ContinuousConvMode = DISABLE;
  hadc3.Init.NbrOfConversion = 1;
  hadc3.Init.DiscontinuousConvMode = DISABLE;
  hadc3.Init.ExternalTrigConv = ADC_SOFTWARE_START;
  hadc3.Init.ExternalTrigConvEdge = ADC_EXTERNALTRIGCONVEDGE_NONE;
  hadc3.Init.DMAContinuousRequests = DISABLE;
  hadc3.Init.Overrun = ADC_OVR_DATA_PRESERVED;
  hadc3.Init.OversamplingMode = DISABLE;
  if (HAL_ADC_Init(&hadc3) != HAL_OK)
  {
    Error_Handler();
  }

  /** Configure the ADC multi-mode
  */
  multimode.Mode = ADC_MODE_INDEPENDENT;
  if (HAL_ADCEx_MultiModeConfigChannel(&hadc3, &multimode) != HAL_OK)
  {
    Error_Handler();
  }

  /** Configure Regular Channel
  */
  sConfig.Channel = ADC_CHANNEL_1;
  sConfig.Rank = ADC_REGULAR_RANK_1;
  sConfig.SamplingTime = ADC_SAMPLETIME_2CYCLES_5;
  sConfig.SingleDiff = ADC_SINGLE_ENDED;
  sConfig.OffsetNumber = ADC_OFFSET_NONE;
  sConfig.Offset = 0;
  if (HAL_ADC_ConfigChannel(&hadc3, &sConfig) != HAL_OK)
  {
    Error_Handler();
  }

  /** Configure Injected Channel
  */
  sConfigInjected.InjectedChannel = ADC_CHANNEL_1;
  sConfigInjected.InjectedRank = ADC_INJECTED_RANK_1;
  sConfigInjected.InjectedSamplingTime = ADC_SAMPLETIME_6CYCLES_5;
  sConfigInjected.InjectedSingleDiff = ADC_SINGLE_ENDED;
  sConfigInjected.InjectedOffsetNumber = ADC_OFFSET_NONE;
  sConfigInjected.InjectedOffset = 0;
  sConfigInjected.InjectedNbrOfConversion = 1;
  sConfigInjected.InjectedDiscontinuousConvMode = DISABLE;
  sConfigInjected.AutoInjectedConv = DISABLE;
  sConfigInjected.QueueInjectedContext = DISABLE;
  sConfigInjected.ExternalTrigInjecConv = ADC_EXTERNALTRIGINJEC_T4_CC3;
  sConfigInjected.ExternalTrigInjecConvEdge = ADC_EXTERNALTRIGINJECCONV_EDGE_RISING;
  sConfigInjected.InjecOversamplingMode = DISABLE;
  if (HAL_ADCEx_InjectedConfigChannel(&hadc3, &sConfigInjected) != HAL_OK)
  {
    Error_Handler();
  }

}

static void MX_FDCAN2_Init(void)
{

  hfdcan2.Instance = FDCAN2;
  hfdcan2.Init.ClockDivider = FDCAN_CLOCK_DIV1;
  hfdcan2.Init.FrameFormat = FDCAN_FRAME_CLASSIC;
  hfdcan2.Init.Mode = FDCAN_MODE_NORMAL;
  hfdcan2.Init.AutoRetransmission = DISABLE;
  hfdcan2.Init.TransmitPause = DISABLE;
  hfdcan2.Init.ProtocolException = DISABLE;
  hfdcan2.Init.NominalPrescaler = 10;
  hfdcan2.Init.NominalSyncJumpWidth = 1;
  hfdcan2.Init.NominalTimeSeg1 = 14;
  hfdcan2.Init.NominalTimeSeg2 = 2;
  hfdcan2.Init.DataPrescaler = 1;
  hfdcan2.Init.DataSyncJumpWidth = 1;
  hfdcan2.Init.DataTimeSeg1 = 1;
  hfdcan2.Init.DataTimeSeg2 = 1;
  hfdcan2.Init.StdFiltersNbr = 11;
  hfdcan2.Init.ExtFiltersNbr = 0;
  hfdcan2.Init.TxFifoQueueMode = FDCAN_TX_FIFO_OPERATION;
  if (HAL_FDCAN_Init(&hfdcan2) != HAL_OK)
  {
    Error_Handler();
  }

}

static void MX_SPI1_Init(void)
{

  /* SPI1 parameter configuration*/
  hspi1.Instance = SPI1;
  hspi1.Init.Mode = SPI_MODE_MASTER;
  hspi1.Init.Direction = SPI_DIRECTION_2LINES;
  hspi1.Init.DataSize = SPI_DATASIZE_8BIT;
  hspi1.Init.CLKPolarity = SPI_POLARITY_HIGH;
  hspi1.Init.CLKPhase = SPI_PHASE_2EDGE;
  hspi1.Init.NSS = SPI_NSS_SOFT;
  hspi1.Init.BaudRatePrescaler = SPI_BAUDRATEPRESCALER_64;
  hspi1.Init.FirstBit = SPI_FIRSTBIT_MSB;
  hspi1.Init.TIMode = SPI_TIMODE_DISABLE;
  hspi1.Init.CRCCalculation = SPI_CRCCALCULATION_DISABLE;
  hspi1.Init.CRCPolynomial = 7;
  hspi1.Init.CRCLength = SPI_CRC_LENGTH_DATASIZE;
  hspi1.Init.NSSPMode = SPI_NSS_PULSE_DISABLE;
  if (HAL_SPI_Init(&hspi1) != HAL_OK)
  {
    Error_Handler();
  }

}

static void MX_SPI3_Init(void)
{

  /* SPI3 parameter configuration*/
  hspi3.Instance = SPI3;
  hspi3.Init.Mode = SPI_MODE_MASTER;
  hspi3.Init.Direction = SPI_DIRECTION_2LINES;
  hspi3.Init.DataSize = SPI_DATASIZE_16BIT;
  hspi3.Init.CLKPolarity = SPI_POLARITY_LOW;
  hspi3.Init.CLKPhase = SPI_PHASE_2EDGE;
  hspi3.Init.NSS = SPI_NSS_SOFT;
  hspi3.Init.BaudRatePrescaler = SPI_BAUDRATEPRESCALER_128;
  hspi3.Init.FirstBit = SPI_FIRSTBIT_MSB;
  hspi3.Init.TIMode = SPI_TIMODE_DISABLE;
  hspi3.Init.CRCCalculation = SPI_CRCCALCULATION_DISABLE;
  hspi3.Init.CRCPolynomial = 7;
  hspi3.Init.CRCLength = SPI_CRC_LENGTH_DATASIZE;
  hspi3.Init.NSSPMode = SPI_NSS_PULSE_DISABLE;
  if (HAL_SPI_Init(&hspi3) != HAL_OK)
  {
    Error_Handler();
  }

}

static void MX_TIM1_Init(void)
{

  TIM_MasterConfigTypeDef sMasterConfig = {0};
  TIM_OC_InitTypeDef sConfigOC = {0};
  TIM_BreakDeadTimeConfigTypeDef sBreakDeadTimeConfig = {0};

  htim1.Instance = TIM1;
  htim1.Init.Prescaler = 0;
  htim1.Init.CounterMode = TIM_COUNTERMODE_CENTERALIGNED1;
  htim1.Init.Period = 65535;
  htim1.Init.ClockDivision = TIM_CLOCKDIVISION_DIV1;
  htim1.Init.RepetitionCounter = 0;
  htim1.Init.AutoReloadPreload = TIM_AUTORELOAD_PRELOAD_DISABLE;
  if (HAL_TIM_PWM_Init(&htim1) != HAL_OK)
  {
    Error_Handler();
  }
  sMasterConfig.MasterOutputTrigger = TIM_TRGO_RESET;
  sMasterConfig.MasterOutputTrigger2 = TIM_TRGO2_RESET;
  sMasterConfig.MasterSlaveMode = TIM_MASTERSLAVEMODE_DISABLE;
  if (HAL_TIMEx_MasterConfigSynchronization(&htim1, &sMasterConfig) != HAL_OK)
  {
    Error_Handler();
  }
  sConfigOC.OCMode = TIM_OCMODE_PWM1;
  sConfigOC.Pulse = 0;
  sConfigOC.OCPolarity = TIM_OCPOLARITY_HIGH;
  sConfigOC.OCNPolarity = TIM_OCNPOLARITY_HIGH;
  sConfigOC.OCFastMode = TIM_OCFAST_DISABLE;
  sConfigOC.OCIdleState = TIM_OCIDLESTATE_RESET;
  sConfigOC.OCNIdleState = TIM_OCNIDLESTATE_RESET;
  if (HAL_TIM_PWM_ConfigChannel(&htim1, &sConfigOC, TIM_CHANNEL_1) != HAL_OK)
  {
    Error_Handler();
  }
  if (HAL_TIM_PWM_ConfigChannel(&htim1, &sConfigOC, TIM_CHANNEL_2) != HAL_OK)
  {
    Error_Handler();
  }
  if (HAL_TIM_PWM_ConfigChannel(&htim1, &sConfigOC, TIM_CHANNEL_3) != HAL_OK)
  {
    Error_Handler();
  }
  if (HAL_TIM_PWM_ConfigChannel(&htim1, &sConfigOC, TIM_CHANNEL_4) != HAL_OK)
  {
    Error_Handler();
  }
  sBreakDeadTimeConfig.OffStateRunMode = TIM_OSSR_DISABLE;
  sBreakDeadTimeConfig.OffStateIDLEMode = TIM_OSSI_DISABLE;
  sBreakDeadTimeConfig.LockLevel = TIM_LOCKLEVEL_OFF;
  sBreakDeadTimeConfig.DeadTime = 0;
  sBreakDeadTimeConfig.BreakState = TIM_BREAK_DISABLE;
  sBreakDeadTimeConfig.BreakPolarity = TIM_BREAKPOLARITY_HIGH;
  sBreakDeadTimeConfig.BreakFilter = 0;
  sBreakDeadTimeConfig.BreakAFMode = TIM_BREAK_AFMODE_INPUT;
  sBreakDeadTimeConfig.Break2State = TIM_BREAK2_DISABLE;
  sBreakDeadTimeConfig.Break2Polarity = TIM_BREAK2POLARITY_HIGH;
  sBreakDeadTimeConfig.Break2Filter = 0;
  sBreakDeadTimeConfig.Break2AFMode = TIM_BREAK_AFMODE_INPUT;
  sBreakDeadTimeConfig.AutomaticOutput = TIM_AUTOMATICOUTPUT_DISABLE;
  if (HAL_TIMEx_ConfigBreakDeadTime(&htim1, &sBreakDeadTimeConfig) != HAL_OK)
  {
    Error_Handler();
  }
  HAL_TIM_MspPostInit(&htim1);

}

static void MX_TIM2_Init(void)
{

  TIM_ClockConfigTypeDef sClockSourceConfig = {0};
  TIM_MasterConfigTypeDef sMasterConfig = {0};

  htim2.Instance = TIM2;
  htim2.Init.Prescaler = 169;
  htim2.Init.CounterMode = TIM_COUNTERMODE_UP;
  htim2.Init.Period = 4294967295;
  htim2.Init.ClockDivision = TIM_CLOCKDIVISION_DIV1;
  htim2.Init.AutoReloadPreload = TIM_AUTORELOAD_PRELOAD_DISABLE;
  if (HAL_TIM_Base_Init(&htim2) != HAL_OK)
  {
    Error_Handler();
  }
  sClockSourceConfig.ClockSource = TIM_CLOCKSOURCE_INTERNAL;
  if (HAL_TIM_ConfigClockSource(&htim2, &sClockSourceConfig) != HAL_OK)
  {
    Error_Handler();
  }
  sMasterConfig.MasterOutputTrigger = TIM_TRGO_RESET;
  sMasterConfig.MasterSlaveMode = TIM_MASTERSLAVEMODE_DISABLE;
  if (HAL_TIMEx_MasterConfigSynchronization(&htim2, &sMasterConfig) != HAL_OK)
  {
    Error_Handler();
  }

}

static void MX_TIM4_Init(void)
{

  TIM_MasterConfigTypeDef sMasterConfig = {0};
  TIM_OC_InitTypeDef sConfigOC = {0};

  htim4.Instance = TIM4;
  htim4.Init.Prescaler = 99;
  htim4.Init.CounterMode = TIM_COUNTERMODE_UP;
  htim4.Init.Period = 1699;
  htim4.Init.ClockDivision = TIM_CLOCKDIVISION_DIV1;
  htim4.Init.AutoReloadPreload = TIM_AUTORELOAD_PRELOAD_DISABLE;
  if (HAL_TIM_PWM_Init(&htim4) != HAL_OK)
  {
    Error_Handler();
  }
  sMasterConfig.MasterOutputTrigger = TIM_TRGO_RESET;
  sMasterConfig.MasterSlaveMode = TIM_MASTERSLAVEMODE_DISABLE;
  if (HAL_TIMEx_MasterConfigSynchronization(&htim4, &sMasterConfig) != HAL_OK)
  {
    Error_Handler();
  }
  sConfigOC.OCMode = TIM_OCMODE_PWM1;
  sConfigOC.Pulse = 0;
  sConfigOC.OCPolarity = TIM_OCPOLARITY_HIGH;
  sConfigOC.OCFastMode = TIM_OCFAST_DISABLE;
  if (HAL_TIM_PWM_ConfigChannel(&htim4, &sConfigOC, TIM_CHANNEL_3) != HAL_OK)
  {
    Error_Handler();
  }

}

static void MX_DMA_Init(void)
{

  /* DMA controller clock enable */
  __HAL_RCC_DMAMUX1_CLK_ENABLE();
  __HAL_RCC_DMA1_CLK_ENABLE();

  /* DMA interrupt init */
  /* DMA1_Channel1_IRQn interrupt configuration */
  HAL_NVIC_SetPriority(DMA1_Channel1_IRQn, 0, 0);
  HAL_NVIC_EnableIRQ(DMA1_Channel1_IRQn);
  /* DMA1_Channel2_IRQn interrupt configuration */
  HAL_NVIC_SetPriority(DMA1_Channel2_IRQn, 0, 0);
  HAL_NVIC_EnableIRQ(DMA1_Channel2_IRQn);

}

static void MX_GPIO_Init(void)
{
  GPIO_InitTypeDef GPIO_InitStruct = {0};

  /* GPIO Ports Clock Enable */
  __HAL_RCC_GPIOC_CLK_ENABLE();
  __HAL_RCC_GPIOF_CLK_ENABLE();
  __HAL_RCC_GPIOA_CLK_ENABLE();
  __HAL_RCC_GPIOB_CLK_ENABLE();
  __HAL_RCC_GPIOD_CLK_ENABLE();

  /*Configure GPIO pin Output Level */
  HAL_GPIO_WritePin(GPIOC, GPIO_PIN_2|GPIO_PIN_3, GPIO_PIN_RESET);

  /*Configure GPIO pin Output Level */
  HAL_GPIO_WritePin(GPIOA, GPIO_PIN_0|GPIO_PIN_4|GPIO_PIN_15, GPIO_PIN_RESET);

  /*Configure GPIO pin Output Level */
  HAL_GPIO_WritePin(GPIOD, GPIO_PIN_2, GPIO_PIN_RESET);

  /*Configure GPIO pin : PC14 */
  GPIO_InitStruct.Pin = GPIO_PIN_14;
  GPIO_InitStruct.Mode = GPIO_MODE_IT_RISING;
  GPIO_InitStruct.Pull = GPIO_NOPULL;
  HAL_GPIO_Init(GPIOC, &GPIO_InitStruct);

  /*Configure GPIO pins : PC2 PC3 */
  GPIO_InitStruct.Pin = GPIO_PIN_2|GPIO_PIN_3;
  GPIO_InitStruct.Mode = GPIO_MODE_OUTPUT_PP;
  GPIO_InitStruct.Pull = GPIO_NOPULL;
  GPIO_InitStruct.Speed = GPIO_SPEED_FREQ_LOW;
  HAL_GPIO_Init(GPIOC, &GPIO_InitStruct);

  /*Configure GPIO pins : PA0 PA4 PA15 */
  GPIO_InitStruct.Pin = GPIO_PIN_0|GPIO_PIN_4|GPIO_PIN_15;
  GPIO_InitStruct.Mode = GPIO_MODE_OUTPUT_PP;
  GPIO_InitStruct.Pull = GPIO_NOPULL;
  GPIO_InitStruct.Speed = GPIO_SPEED_FREQ_LOW;
  HAL_GPIO_Init(GPIOA, &GPIO_InitStruct);

  /*Configure GPIO pin : PA1 */
  GPIO_InitStruct.Pin = GPIO_PIN_1;
  GPIO_InitStruct.Mode = GPIO_MODE_IT_RISING;
  GPIO_InitStruct.Pull = GPIO_NOPULL;
  HAL_GPIO_Init(GPIOA, &GPIO_InitStruct);

  /*Configure GPIO pins : PA2 PA3 */
  GPIO_InitStruct.Pin = GPIO_PIN_2|GPIO_PIN_3;
  GPIO_InitStruct.Mode = GPIO_MODE_AF_PP;
  GPIO_InitStruct.Pull = GPIO_NOPULL;
  GPIO_InitStruct.Speed = GPIO_SPEED_FREQ_LOW;
  GPIO_InitStruct.Alternate = GPIO_AF7_USART2;
  HAL_GPIO_Init(GPIOA, &GPIO_InitStruct);

  /*Configure GPIO pin : PD2 */
  GPIO_InitStruct.Pin = GPIO_PIN_2;
  GPIO_InitStruct.Mode = GPIO_MODE_OUTPUT_PP;
  GPIO_InitStruct.Pull = GPIO_NOPULL;
  GPIO_InitStruct.Speed = GPIO_SPEED_FREQ_LOW;
  HAL_GPIO_Init(GPIOD, &GPIO_InitStruct);

  /* EXTI interrupt init*/
  HAL_NVIC_SetPriority(EXTI1_IRQn, 0, 0);
  HAL_NVIC_EnableIRQ(EXTI1_IRQn);

  HAL_NVIC_SetPriority(EXTI15_10_IRQn, 0, 0);
  HAL_NVIC_EnableIRQ(EXTI15_10_IRQn);

}

void Error_Handler(void)
{
  __disable_irq();
  while (1)
  {
  }
}
